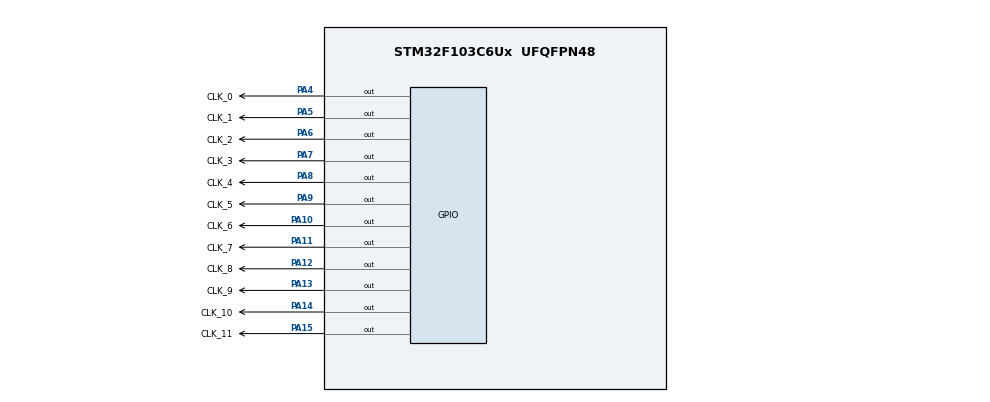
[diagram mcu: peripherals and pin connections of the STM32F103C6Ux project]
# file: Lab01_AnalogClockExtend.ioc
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Mcu.Family=STM32F1
Mcu.Name=STM32F103C6Ux
Mcu.Package=UFQFPN48
NVIC.PriorityGroup=NVIC_PRIORITYGROUP_4
PA10.GPIO_Label=CLK_6
PA10.Signal=GPIO_Output
PA11.GPIO_Label=CLK_7
PA11.Signal=GPIO_Output
PA12.GPIO_Label=CLK_8
PA12.Signal=GPIO_Output
PA13.GPIO_Label=CLK_9
PA13.Signal=GPIO_Output
PA14.GPIO_Label=CLK_10
PA14.Signal=GPIO_Output
PA15.GPIO_Label=CLK_11
PA15.Signal=GPIO_Output
PA4.GPIO_Label=CLK_0
PA4.Signal=GPIO_Output
PA5.GPIO_Label=CLK_1
PA5.Signal=GPIO_Output
PA6.GPIO_Label=CLK_2
PA6.Signal=GPIO_Output
PA7.GPIO_Label=CLK_3
PA7.Signal=GPIO_Output
PA8.GPIO_Label=CLK_4
PA8.Signal=GPIO_Output
PA9.GPIO_Label=CLK_5
PA9.Signal=GPIO_Output
ProjectManager.HeapSize=0x200
ProjectManager.StackSize=0x400
ProjectManager.TargetToolchain=STM32CubeIDE
RCC.APB1Freq_Value=8000000
RCC.APB2Freq_Value=8000000
VP_SYS_VS_ND.Mode=No_Debug
board=custom

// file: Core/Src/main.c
/* USER CODE BEGIN Header */
/**
  ******************************************************************************
  * @file           : main.c
  * @brief          : Main program body
  ******************************************************************************
  * @attention
  *
  * <h2><center>&copy; Copyright (c) 2022 STMicroelectronics.
  * All rights reserved.</center></h2>
  *
  * This software component is licensed by ST under BSD 3-Clause license,
  * the "License"; You may not use this file except in compliance with the
  * License. You may obtain a copy of the License at:
  *                        opensource.org/licenses/BSD-3-Clause
  *
  ******************************************************************************
  */
/* USER CODE END Header */
#include "main.h"

void SystemClock_Config(void);
static void MX_GPIO_Init(void);

/* USER CODE BEGIN 0 */
void clearAllClock();
void setNumberOnClock(int num);
void clearNumberOnClock(int num);
/* USER CODE END 0 */

int main(void)
{

  /* MCU Configuration--------------------------------------------------------*/

  /* Reset of all peripherals, Initializes the Flash interface and the Systick. */
  HAL_Init();

  /* Configure the system clock */
  SystemClock_Config();

  /* Initialize all configured peripherals */
  MX_GPIO_Init();
  /* USER CODE BEGIN 2 */
  int second = 0, minute = 0, hour = 0;    //current led index for second, minute, hour
  int second_ = 0, minute_ = 0, hour_ = 0; //previous led index for second, minute, hour
  int counter = -1; // counter for calculate current second, minute, hour
  int enable[12] = {0, 0, 0, 0, 0, 0, 0, 0, 0, 0, 0, 0}; //token instance for each led, token == 0 - led OFF; otherwise, led ON
  /* USER CODE END 2 */

  /* Infinite loop */
  while (1)
  {
    /* USER CODE BEGIN 3 */
	if (counter == -1){ // Initial state - make all led off
		clearAllClock();
		counter=1; //set counter equal to second 1
		enable[0] = 3; // led 0 is set to contain tokens
		setNumberOnClock(0); // enable[0] != 0 --> turn on clock 0
	}

	if (counter == 3600) counter=0; //Represent 1 hour passed, set counter = 0

	/* change led for SECOND (each 5-second) */
	if (counter % 5 == 0){
		second++; //switch to next SECOND led index (from now on, it becomes current led)
		second_ = second-1;
		if (second==12) second=0;
		enable[second_]--; //decrease token of previous SECOND led
		if (enable[second_] == 0) clearNumberOnClock(second_); //check token, if token==0, turn OFF previous SECOND led
		enable[second]++;
		setNumberOnClock(second); //always turn ON current SECOND led
	}

	/* change led for MINUTE (each 5-minute or 300-second) */
	if (counter % 300 == 0){
		minute++; //switch to next MINUTE led index (from now on, it becomes current led)
		minute_ = minute-1;
		if (minute==12) minute=0;
		enable[minute_]--;  //decrease token of previous MINUTE led
		if (enable[minute_] == 0) clearNumberOnClock(minute_); //check token, if token==0, turn OFF previous MINUTE led
		enable[minute]++;
		setNumberOnClock(minute); //always turn ON current MINUTE led
	}

	/* change led for HOUR (each 1-hour or 3600-second) */
	if (counter % 3600 == 0){
		hour++; //switch to next HOUR led index (from now on, it becomes current led)
		hour_ = hour-1;
		if (hour==12) hour=0;
		enable[hour_]--; //decrease token of previous HOUR led
		if (enable[hour_] == 0) clearNumberOnClock(hour_); //check token, if token==0, turn OFF previous HOUR led
		enable[hour]++;
		setNumberOnClock(hour);
	}

	counter++; //as second increase
	HAL_Delay(10); //delay 10ms for Proteus simulation
  }
  /* USER CODE END 3 */
}

void SystemClock_Config(void)
{
  RCC_OscInitTypeDef RCC_OscInitStruct = {0};
  RCC_ClkInitTypeDef RCC_ClkInitStruct = {0};

  /** Initializes the RCC Oscillators according to the specified parameters
  * in the RCC_OscInitTypeDef structure.
  */
  RCC_OscInitStruct.OscillatorType = RCC_OSCILLATORTYPE_HSI;
  RCC_OscInitStruct.HSIState = RCC_HSI_ON;
  RCC_OscInitStruct.HSICalibrationValue = RCC_HSICALIBRATION_DEFAULT;
  RCC_OscInitStruct.PLL.PLLState = RCC_PLL_NONE;
  if (HAL_RCC_OscConfig(&RCC_OscInitStruct) != HAL_OK)
  {
    Error_Handler();
  }
  /** Initializes the CPU, AHB and APB buses clocks
  */
  RCC_ClkInitStruct.ClockType = RCC_CLOCKTYPE_HCLK|RCC_CLOCKTYPE_SYSCLK
                              |RCC_CLOCKTYPE_PCLK1|RCC_CLOCKTYPE_PCLK2;
  RCC_ClkInitStruct.SYSCLKSource = RCC_SYSCLKSOURCE_HSI;
  RCC_ClkInitStruct.AHBCLKDivider = RCC_SYSCLK_DIV1;
  RCC_ClkInitStruct.APB1CLKDivider = RCC_HCLK_DIV1;
  RCC_ClkInitStruct.APB2CLKDivider = RCC_HCLK_DIV1;

  if (HAL_RCC_ClockConfig(&RCC_ClkInitStruct, FLASH_LATENCY_0) != HAL_OK)
  {
    Error_Handler();
  }
}

static void MX_GPIO_Init(void)
{
  GPIO_InitTypeDef GPIO_InitStruct = {0};

  /* GPIO Ports Clock Enable */
  __HAL_RCC_GPIOA_CLK_ENABLE();

  /*Configure GPIO pin Output Level */
  HAL_GPIO_WritePin(GPIOA, CLK_0_Pin|CLK_1_Pin|CLK_2_Pin|CLK_3_Pin
                          |CLK_4_Pin|CLK_5_Pin|CLK_6_Pin|CLK_7_Pin
                          |CLK_8_Pin|CLK_9_Pin|CLK_10_Pin|CLK_11_Pin, GPIO_PIN_RESET);

  /*Configure GPIO pins : CLK_0_Pin CLK_1_Pin CLK_2_Pin CLK_3_Pin
                           CLK_4_Pin CLK_5_Pin CLK_6_Pin CLK_7_Pin
                           CLK_8_Pin CLK_9_Pin CLK_10_Pin CLK_11_Pin */
  GPIO_InitStruct.Pin = CLK_0_Pin|CLK_1_Pin|CLK_2_Pin|CLK_3_Pin
                          |CLK_4_Pin|CLK_5_Pin|CLK_6_Pin|CLK_7_Pin
                          |CLK_8_Pin|CLK_9_Pin|CLK_10_Pin|CLK_11_Pin;
  GPIO_InitStruct.Mode = GPIO_MODE_OUTPUT_PP;
  GPIO_InitStruct.Pull = GPIO_NOPULL;
  GPIO_InitStruct.Speed = GPIO_SPEED_FREQ_LOW;
  HAL_GPIO_Init(GPIOA, &GPIO_InitStruct);

}

/* USER CODE BEGIN 4 */
void clearAllClock(){
	HAL_GPIO_WritePin(GPIOA, CLK_0_Pin|CLK_1_Pin|CLK_2_Pin|CLK_3_Pin|
							CLK_4_Pin|CLK_5_Pin|CLK_6_Pin|CLK_7_Pin|
							CLK_8_Pin|CLK_9_Pin|CLK_10_Pin|CLK_11_Pin, GPIO_PIN_SET);
}

void setNumberOnClock(int num){
	switch (num){
		case 0:{
			HAL_GPIO_WritePin(GPIOA, CLK_0_Pin, GPIO_PIN_RESET);
			break;
		}
		case 1:{
			HAL_GPIO_WritePin(GPIOA, CLK_1_Pin, GPIO_PIN_RESET);
			break;
		}
		case 2:{
			HAL_GPIO_WritePin(GPIOA, CLK_2_Pin, GPIO_PIN_RESET);
			break;
		}
		case 3:{
			HAL_GPIO_WritePin(GPIOA, CLK_3_Pin, GPIO_PIN_RESET);
			break;
		}
		case 4:{
			HAL_GPIO_WritePin(GPIOA, CLK_4_Pin, GPIO_PIN_RESET);
			break;
		}
		case 5:{
			HAL_GPIO_WritePin(GPIOA, CLK_5_Pin, GPIO_PIN_RESET);
			break;
		}
		case 6:{
			HAL_GPIO_WritePin(GPIOA, CLK_6_Pin, GPIO_PIN_RESET);
			break;
		}
		case 7:{
			HAL_GPIO_WritePin(GPIOA, CLK_7_Pin, GPIO_PIN_RESET);
			break;
		}
		case 8:{
			HAL_GPIO_WritePin(GPIOA, CLK_8_Pin, GPIO_PIN_RESET);
			break;
		}
		case 9:{
			HAL_GPIO_WritePin(GPIOA, CLK_9_Pin, GPIO_PIN_RESET);
			break;
		}
		case 10:{
			HAL_GPIO_WritePin(GPIOA, CLK_10_Pin, GPIO_PIN_RESET);
			break;
		}
		case 11:{
			HAL_GPIO_WritePin(GPIOA, CLK_11_Pin, GPIO_PIN_RESET);
			break;
		}
	}
}

void clearNumberOnClock(int num){
	switch (num){
		case 0:{
			HAL_GPIO_WritePin(GPIOA, CLK_0_Pin, GPIO_PIN_SET);
			break;
		}
		case 1:{
			HAL_GPIO_WritePin(GPIOA, CLK_1_Pin, GPIO_PIN_SET);
			break;
		}
		case 2:{
			HAL_GPIO_WritePin(GPIOA, CLK_2_Pin, GPIO_PIN_SET);
			break;
		}
		case 3:{
			HAL_GPIO_WritePin(GPIOA, CLK_3_Pin, GPIO_PIN_SET);
			break;
		}
		case 4:{
			HAL_GPIO_WritePin(GPIOA, CLK_4_Pin, GPIO_PIN_SET);
			break;
		}
		case 5:{
			HAL_GPIO_WritePin(GPIOA, CLK_5_Pin, GPIO_PIN_SET);
			break;
		}
		case 6:{
			HAL_GPIO_WritePin(GPIOA, CLK_6_Pin, GPIO_PIN_SET);
			break;
		}
		case 7:{
			HAL_GPIO_WritePin(GPIOA, CLK_7_Pin, GPIO_PIN_SET);
			break;
		}
		case 8:{
			HAL_GPIO_WritePin(GPIOA, CLK_8_Pin, GPIO_PIN_SET);
			break;
		}
		case 9:{
			HAL_GPIO_WritePin(GPIOA, CLK_9_Pin, GPIO_PIN_SET);
			break;
		}
		case 10:{
			HAL_GPIO_WritePin(GPIOA, CLK_10_Pin, GPIO_PIN_SET);
			break;
		}
		case 11:{
			HAL_GPIO_WritePin(GPIOA, CLK_11_Pin, GPIO_PIN_SET);
			break;
		}
	}
}
/* USER CODE END 4 */

void Error_Handler(void)
{
  __disable_irq();
  while (1)
  {
  }
}

/************************ (C) COPYRIGHT STMicroelectronics *****END OF FILE****/
